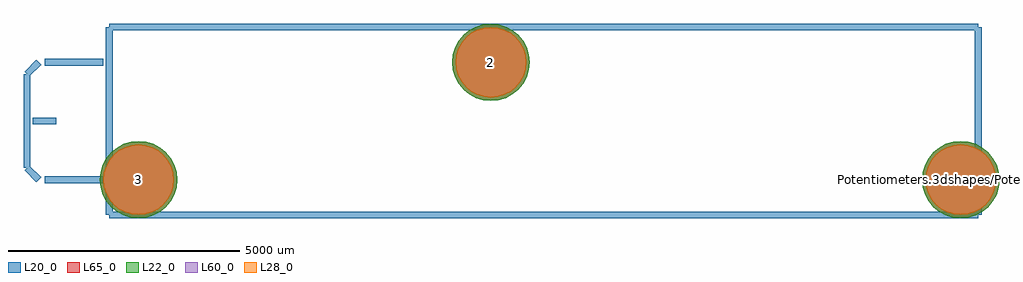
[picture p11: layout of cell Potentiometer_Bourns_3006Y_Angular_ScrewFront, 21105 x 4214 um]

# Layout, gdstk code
import gdstk
lib = gdstk.Library(unit=1e-6, precision=1e-09)
def P(c, l, *ps):  # polygons
    for p in ps: c.add(gdstk.Polygon(p, *l))
L20_0 = (20, 0)
L22_0 = (22, 0)
L28_0 = (28, 0)
L60_0 = (60, 0)
L65_0 = (65, 0)

potentiometer_bourns_300 = lib.new_cell('Potentiometer_Bourns_3006Y_Angular_ScrewFront')
P(potentiometer_bourns_300, L22_0, [(837,0),(820.917,163.291),(773.287,320.306),(695.94,465.012),(591.848,591.848),(465.012,695.94),(320.306,773.287),(163.291,820.917),(0,837),(-163.291,820.917),(-320.306,773.287),(-465.012,695.94),(-591.848,591.848),(-695.94,465.012),(-773.287,320.306),(-820.917,163.291),(-837,0),(-820.917,-163.291),(-773.287,-320.306),(-695.94,-465.012),(-591.848,-591.848),(-465.012,-695.94),(-320.306,-773.287),(-163.291,-820.917),(0,-837),(163.291,-820.917),(320.306,-773.287),(465.012,-695.94),(591.848,-591.848),(695.94,-465.012),(773.287,-320.306),(820.917,-163.291)],
  [(-9323,2540),(-9339.083,2703.291),(-9386.713,2860.306),(-9464.06,3005.012),(-9568.152,3131.848),(-9694.988,3235.94),(-9839.694,3313.287),(-9996.709,3360.917),(-10160,3377),(-10323.291,3360.917),(-10480.306,3313.287),(-10625.012,3235.94),(-10751.848,3131.848),(-10855.94,3005.012),(-10933.287,2860.306),(-10980.917,2703.291),(-10997,2540),(-10980.917,2376.709),(-10933.287,2219.694),(-10855.94,2074.988),(-10751.848,1948.152),(-10625.012,1844.06),(-10480.306,1766.713),(-10323.291,1719.083),(-10160,1703),(-9996.709,1719.083),(-9839.694,1766.713),(-9694.988,1844.06),(-9568.152,1948.152),(-9464.06,2074.988),(-9386.713,2219.694),(-9339.083,2376.709)],
  [(-16943,0),(-16959.083,163.291),(-17006.713,320.306),(-17084.06,465.012),(-17188.152,591.848),(-17314.988,695.94),(-17459.694,773.287),(-17616.709,820.917),(-17780,837),(-17943.291,820.917),(-18100.306,773.287),(-18245.012,695.94),(-18371.848,591.848),(-18475.94,465.012),(-18553.287,320.306),(-18600.917,163.291),(-18617,0),(-18600.917,-163.291),(-18553.287,-320.306),(-18475.94,-465.012),(-18371.848,-591.848),(-18245.012,-695.94),(-18100.306,-773.287),(-17943.291,-820.917),(-17780,-837),(-17616.709,-820.917),(-17459.694,-773.287),(-17314.988,-695.94),(-17188.152,-591.848),(-17084.06,-465.012),(-17006.713,-320.306),(-16959.083,-163.291)])
P(potentiometer_bourns_300, L28_0, [(762,0),(747.358,148.659),(703.996,291.605),(633.58,423.345),(538.815,538.815),(423.345,633.58),(291.605,703.996),(148.659,747.358),(0,762),(-148.659,747.358),(-291.605,703.996),(-423.345,633.58),(-538.815,538.815),(-633.58,423.345),(-703.996,291.605),(-747.358,148.659),(-762,0),(-747.358,-148.659),(-703.996,-291.605),(-633.58,-423.345),(-538.815,-538.815),(-423.345,-633.58),(-291.605,-703.996),(-148.659,-747.358),(0,-762),(148.659,-747.358),(291.605,-703.996),(423.345,-633.58),(538.815,-538.815),(633.58,-423.345),(703.996,-291.605),(747.358,-148.659)],
  [(-9398,2540),(-9412.642,2688.659),(-9456.004,2831.605),(-9526.42,2963.345),(-9621.185,3078.815),(-9736.655,3173.58),(-9868.395,3243.996),(-10011.341,3287.358),(-10160,3302),(-10308.659,3287.358),(-10451.605,3243.996),(-10583.345,3173.58),(-10698.815,3078.815),(-10793.58,2963.345),(-10863.996,2831.605),(-10907.358,2688.659),(-10922,2540),(-10907.358,2391.341),(-10863.996,2248.395),(-10793.58,2116.655),(-10698.815,2001.185),(-10583.345,1906.42),(-10451.605,1836.004),(-10308.659,1792.642),(-10160,1778),(-10011.341,1792.642),(-9868.395,1836.004),(-9736.655,1906.42),(-9621.185,2001.185),(-9526.42,2116.655),(-9456.004,2248.395),(-9412.642,2391.341)],
  [(-17018,0),(-17032.642,148.659),(-17076.004,291.605),(-17146.42,423.345),(-17241.185,538.815),(-17356.655,633.58),(-17488.395,703.996),(-17631.341,747.358),(-17780,762),(-17928.659,747.358),(-18071.605,703.996),(-18203.345,633.58),(-18318.815,538.815),(-18413.58,423.345),(-18483.996,291.605),(-18527.358,148.659),(-18542,0),(-18527.358,-148.659),(-18483.996,-291.605),(-18413.58,-423.345),(-18318.815,-538.815),(-18203.345,-633.58),(-18071.605,-703.996),(-17928.659,-747.358),(-17780,-762),(-17631.341,-747.358),(-17488.395,-703.996),(-17356.655,-633.58),(-17241.185,-538.815),(-17146.42,-423.345),(-17076.004,-291.605),(-17032.642,-148.659)])
P(potentiometer_bourns_300, L60_0, [(762,0),(747.358,148.659),(703.996,291.605),(633.58,423.345),(538.815,538.815),(423.345,633.58),(291.605,703.996),(148.659,747.358),(0,762),(-148.659,747.358),(-291.605,703.996),(-423.345,633.58),(-538.815,538.815),(-633.58,423.345),(-703.996,291.605),(-747.358,148.659),(-762,0),(-747.358,-148.659),(-703.996,-291.605),(-633.58,-423.345),(-538.815,-538.815),(-423.345,-633.58),(-291.605,-703.996),(-148.659,-747.358),(0,-762),(148.659,-747.358),(291.605,-703.996),(423.345,-633.58),(538.815,-538.815),(633.58,-423.345),(703.996,-291.605),(747.358,-148.659)],
  [(-9398,2540),(-9412.642,2688.659),(-9456.004,2831.605),(-9526.42,2963.345),(-9621.185,3078.815),(-9736.655,3173.58),(-9868.395,3243.996),(-10011.341,3287.358),(-10160,3302),(-10308.659,3287.358),(-10451.605,3243.996),(-10583.345,3173.58),(-10698.815,3078.815),(-10793.58,2963.345),(-10863.996,2831.605),(-10907.358,2688.659),(-10922,2540),(-10907.358,2391.341),(-10863.996,2248.395),(-10793.58,2116.655),(-10698.815,2001.185),(-10583.345,1906.42),(-10451.605,1836.004),(-10308.659,1792.642),(-10160,1778),(-10011.341,1792.642),(-9868.395,1836.004),(-9736.655,1906.42),(-9621.185,2001.185),(-9526.42,2116.655),(-9456.004,2248.395),(-9412.642,2391.341)],
  [(-17018,0),(-17032.642,148.659),(-17076.004,291.605),(-17146.42,423.345),(-17241.185,538.815),(-17356.655,633.58),(-17488.395,703.996),(-17631.341,747.358),(-17780,762),(-17928.659,747.358),(-18071.605,703.996),(-18203.345,633.58),(-18318.815,538.815),(-18413.58,423.345),(-18483.996,291.605),(-18527.358,148.659),(-18542,0),(-18527.358,-148.659),(-18483.996,-291.605),(-18413.58,-423.345),(-18318.815,-538.815),(-18203.345,-633.58),(-18071.605,-703.996),(-17928.659,-747.358),(-17780,-762),(-17631.341,-747.358),(-17488.395,-703.996),(-17356.655,-633.58),(-17241.185,-538.815),(-17146.42,-423.345),(-17076.004,-291.605),(-17032.642,-148.659)])
P(potentiometer_bourns_300, L65_0, [(837,0),(820.917,163.291),(773.287,320.306),(695.94,465.012),(591.848,591.848),(465.012,695.94),(320.306,773.287),(163.291,820.917),(0,837),(-163.291,820.917),(-320.306,773.287),(-465.012,695.94),(-591.848,591.848),(-695.94,465.012),(-773.287,320.306),(-820.917,163.291),(-837,0),(-820.917,-163.291),(-773.287,-320.306),(-695.94,-465.012),(-591.848,-591.848),(-465.012,-695.94),(-320.306,-773.287),(-163.291,-820.917),(0,-837),(163.291,-820.917),(320.306,-773.287),(465.012,-695.94),(591.848,-591.848),(695.94,-465.012),(773.287,-320.306),(820.917,-163.291)],
  [(-9323,2540),(-9339.083,2703.291),(-9386.713,2860.306),(-9464.06,3005.012),(-9568.152,3131.848),(-9694.988,3235.94),(-9839.694,3313.287),(-9996.709,3360.917),(-10160,3377),(-10323.291,3360.917),(-10480.306,3313.287),(-10625.012,3235.94),(-10751.848,3131.848),(-10855.94,3005.012),(-10933.287,2860.306),(-10980.917,2703.291),(-10997,2540),(-10980.917,2376.709),(-10933.287,2219.694),(-10855.94,2074.988),(-10751.848,1948.152),(-10625.012,1844.06),(-10480.306,1766.713),(-10323.291,1719.083),(-10160,1703),(-9996.709,1719.083),(-9839.694,1766.713),(-9694.988,1844.06),(-9568.152,1948.152),(-9464.06,2074.988),(-9386.713,2219.694),(-9339.083,2376.709)],
  [(-16943,0),(-16959.083,163.291),(-17006.713,320.306),(-17084.06,465.012),(-17188.152,591.848),(-17314.988,695.94),(-17459.694,773.287),(-17616.709,820.917),(-17780,837),(-17943.291,820.917),(-18100.306,773.287),(-18245.012,695.94),(-18371.848,591.848),(-18475.94,465.012),(-18553.287,320.306),(-18600.917,163.291),(-18617,0),(-18600.917,-163.291),(-18553.287,-320.306),(-18475.94,-465.012),(-18371.848,-591.848),(-18245.012,-695.94),(-18100.306,-773.287),(-17943.291,-820.917),(-17780,-837),(-17616.709,-820.917),(-17459.694,-773.287),(-17314.988,-695.94),(-17188.152,-591.848),(-17084.06,-465.012),(-17006.713,-320.306),(-16959.083,-163.291)])
potentiometer_bourns_300.add(gdstk.FlexPath([(381,3302),(-18415,3302)], 149.998, ends="flush", simple_path=True, layer=20, datatype=0))  # L20_0
potentiometer_bourns_300.add(gdstk.FlexPath([(-18415,-762),(381,-762)], 149.998, ends="flush", simple_path=True, layer=20, datatype=0))  # L20_0
potentiometer_bourns_300.add(gdstk.FlexPath([(381,-762),(381,3302)], 149.998, ends="flush", simple_path=True, layer=20, datatype=0))  # L20_0
potentiometer_bourns_300.add(gdstk.FlexPath([(-18415,-762),(-18415,3302)], 149.998, ends="flush", simple_path=True, layer=20, datatype=0))  # L20_0
potentiometer_bourns_300.add(gdstk.FlexPath([(-20066,1270),(-19558,1270)], 149.998, ends="flush", simple_path=True, layer=20, datatype=0))  # L20_0
potentiometer_bourns_300.add(gdstk.FlexPath([(-18542,0),(-19812,0)], 149.998, ends="flush", simple_path=True, layer=20, datatype=0))  # L20_0
potentiometer_bourns_300.add(gdstk.FlexPath([(-18542,2540),(-19812,2540)], 149.998, ends="flush", simple_path=True, layer=20, datatype=0))  # L20_0
potentiometer_bourns_300.add(gdstk.FlexPath([(-20193,254),(-19939,0)], 149.998, ends="flush", simple_path=True, layer=20, datatype=0))  # L20_0
potentiometer_bourns_300.add(gdstk.FlexPath([(-20193,1270),(-20193,254)], 149.998, ends="flush", simple_path=True, layer=20, datatype=0))  # L20_0
potentiometer_bourns_300.add(gdstk.FlexPath([(-20193,2286),(-20193,1270)], 149.998, ends="flush", simple_path=True, layer=20, datatype=0))  # L20_0
potentiometer_bourns_300.add(gdstk.FlexPath([(-19939,2540),(-20193,2286)], 149.998, ends="flush", simple_path=True, layer=20, datatype=0))  # L20_0
potentiometer_bourns_300.add(gdstk.Label('Potentiometers.3dshapes/Potentiometer_Bourns_3006Y_Angular_ScrewFront.wrl', (0,0), layer=12, texttype=0))
potentiometer_bourns_300.add(gdstk.Label('1', (0,0), layer=28, texttype=0))
potentiometer_bourns_300.add(gdstk.Label('2', (-10160,2540), layer=28, texttype=0))
potentiometer_bourns_300.add(gdstk.Label('3', (-17780,0), layer=28, texttype=0))
potentiometer_bourns_300.add(gdstk.Label('type', (-9017,-3810), layer=9, texttype=0))
potentiometer_bourns_300.add(gdstk.Label('devicename', (-9017,6350), layer=9, texttype=0))

lib.write_gds('Potentiometer_Bourns_3006Y_Angular_ScrewFront.gds')
